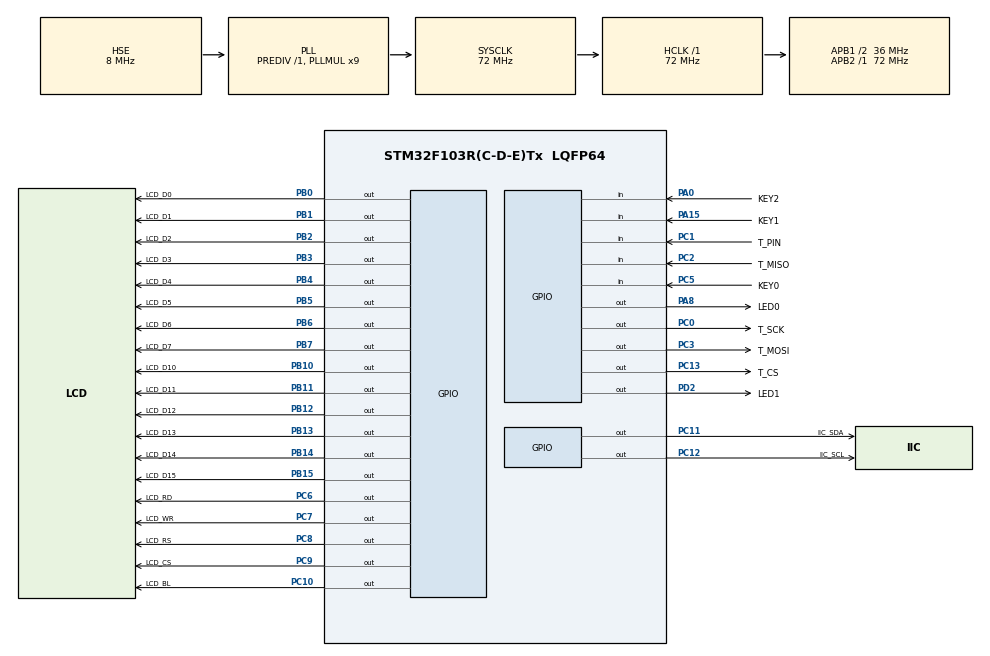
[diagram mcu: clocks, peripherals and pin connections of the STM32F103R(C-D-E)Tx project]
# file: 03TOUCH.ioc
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Mcu.Family=STM32F1
PC10.GPIO_PuPd=GPIO_PULLUP
PD2.GPIO_ModeDefaultOutputPP=GPIO_MODE_OUTPUT_PP
PB10.GPIO_Speed=GPIO_SPEED_FREQ_HIGH
PB10.GPIO_PuPd=GPIO_PULLUP
PA15.GPIO_Mode=GPIO_MODE_INPUT
PC10.Signal=GPIO_Output
PC12.Signal=GPIO_Output
PB14.GPIO_Label=LCD_D14
PB2.GPIO_Speed=GPIO_SPEED_FREQ_HIGH
PC0.GPIO_Label=T_SCK
PC6.GPIO_Label=LCD_RD
PC0.GPIO_ModeDefaultOutputPP=GPIO_MODE_OUTPUT_PP
PD2.GPIO_Speed=GPIO_SPEED_FREQ_HIGH
PB0.GPIO_Label=LCD_D0
PB6.GPIO_Label=LCD_D6
PC10.GPIO_Speed=GPIO_SPEED_FREQ_HIGH
PB11.GPIO_PuPd=GPIO_PULLUP
PB13.GPIO_Label=LCD_D13
PB11.Signal=GPIO_Output
PB13.Signal=GPIO_Output
PB15.Signal=GPIO_Output
PB3.GPIO_Speed=GPIO_SPEED_FREQ_HIGH
PC3.GPIO_Speed=GPIO_SPEED_FREQ_HIGH
RCC.SYSCLKSource=RCC_SYSCLKSOURCE_PLLCLK
ProjectManager.StackSize=0x400
PD1-OSC_OUT.Signal=RCC_OSC_OUT
PB11.GPIO_Speed=GPIO_SPEED_FREQ_HIGH
PA15.GPIO_Label=KEY1
PC11.GPIO_PuPd=GPIO_PULLUP
PB10.GPIO_ModeDefaultOutputPP=GPIO_MODE_OUTPUT_PP
PB1.GPIO_PuPd=GPIO_PULLUP
RCC.HCLKFreq_Value=72000000
RCC.APB2TimFreq_Value=72000000
PB6.Signal=GPIO_Output
PB13.GPIO_ModeDefaultOutputPP=GPIO_MODE_OUTPUT_PP
PC7.Signal=GPIO_Output
PC3.Signal=GPIO_Output
PB15.GPIO_ModeDefaultOutputPP=GPIO_MODE_OUTPUT_PP
RCC.AHBFreq_Value=72000000
PB2.Signal=GPIO_Output
PB12.GPIO_ModeDefaultOutputPP=GPIO_MODE_OUTPUT_PP
PC1.GPIO_PuPd=GPIO_PULLUP
RCC.PLLMUL=RCC_PLL_MUL9
PB12.GPIO_Label=LCD_D12
PB3.GPIO_PuPd=GPIO_PULLUP
PB1.GPIO_Speed=GPIO_SPEED_FREQ_HIGH
PA14.Mode=Serial_Wire
PB1.GPIO_Label=LCD_D1
PC11.GPIO_Label=IIC_SDA
PC11.GPIO_Speed=GPIO_SPEED_FREQ_HIGH
PB7.Signal=GPIO_Output
PA8.Signal=GPIO_Output
PA8.GPIO_ModeDefaultOutputPP=GPIO_MODE_OUTPUT_PP
PC13-TAMPER-RTC.GPIO_Speed=GPIO_SPEED_FREQ_HIGH
PB2.GPIO_PuPd=GPIO_PULLUP
PB7.GPIO_Label=LCD_D7
PC10.GPIO_ModeDefaultOutputPP=GPIO_MODE_OUTPUT_PP
Mcu.Package=LQFP64
PB14.GPIO_PuPd=GPIO_PULLUP
PB1.Signal=GPIO_Output
PB15.GPIO_PuPd=GPIO_PULLUP
PC13-TAMPER-RTC.GPIO_PuPd=GPIO_PULLUP
PB6.GPIO_ModeDefaultOutputPP=GPIO_MODE_OUTPUT_PP
PC8.GPIO_ModeDefaultOutputPP=GPIO_MODE_OUTPUT_PP
PA15.Signal=GPIO_Input
PC6.GPIO_PuPd=GPIO_PULLUP
PC8.GPIO_Speed=GPIO_SPEED_FREQ_HIGH
PB5.GPIO_Speed=GPIO_SPEED_FREQ_HIGH
PB5.GPIO_Label=LCD_D5
RCC.APB1TimFreq_Value=72000000
PB0.GPIO_ModeDefaultOutputPP=GPIO_MODE_OUTPUT_PP
PC5.Signal=GPIO_Input
PC12.GPIO_PuPd=GPIO_PULLUP
PC0.GPIO_PuPd=GPIO_PULLUP
PB2.GPIO_ModeDefaultOutputPP=GPIO_MODE_OUTPUT_PP
PC6.GPIO_Speed=GPIO_SPEED_FREQ_HIGH
PC2.GPIO_Label=T_MISO
PA8.GPIO_Speed=GPIO_SPEED_FREQ_HIGH
PC6.GPIO_ModeDefaultOutputPP=GPIO_MODE_OUTPUT_PP
PA8.PinState=GPIO_PIN_SET
PB4.Signal=GPIO_Output
PB4.GPIO_ModeDefaultOutputPP=GPIO_MODE_OUTPUT_PP
PB7.GPIO_Speed=GPIO_SPEED_FREQ_HIGH
PB3.GPIO_Label=LCD_D3
PB7.GPIO_PuPd=GPIO_PULLUP
RCC.PLLSourceVirtual=RCC_PLLSOURCE_HSE
PB5.GPIO_ModeDefaultOutputPP=GPIO_MODE_OUTPUT_PP
PC7.GPIO_ModeDefaultOutputPP=GPIO_MODE_OUTPUT_PP
PD1-OSC_OUT.Mode=HSE-External-Oscillator
PC10.GPIO_Label=LCD_BL
PC9.GPIO_Label=LCD_CS
PD2.GPIO_PuPd=GPIO_PULLUP
PC11.Signal=GPIO_Output
PB6.GPIO_PuPd=GPIO_PULLUP
PC8.Signal=GPIO_Output
PC2.Signal=GPIO_Input
PC6.Signal=GPIO_Output
PB11.GPIO_Label=LCD_D11
PC13-TAMPER-RTC.Signal=GPIO_Output
PC12.GPIO_ModeDefaultOutputPP=GPIO_MODE_OUTPUT_PP
PD0-OSC_IN.Signal=RCC_OSC_IN
PC0.Signal=GPIO_Output
RCC.APB1CLKDivider=RCC_HCLK_DIV2
PC5.GPIO_PuPd=GPIO_PULLUP
PA0-WKUP.GPIO_Label=KEY2
PA0-WKUP.Signal=GPIO_Input
PB0.GPIO_Speed=GPIO_SPEED_FREQ_HIGH
PC8.GPIO_Label=LCD_RS
PA13.Signal=SYS_JTMS-SWDIO
PC0.GPIO_Speed=GPIO_SPEED_FREQ_HIGH
PA8.GPIO_Label=LED0
ProjectManager.TargetToolchain=STM32CubeIDE
PB14.GPIO_Speed=GPIO_SPEED_FREQ_HIGH
PB10.GPIO_Label=LCD_D10
PB13.GPIO_Speed=GPIO_SPEED_FREQ_HIGH
PB4.GPIO_PuPd=GPIO_PULLUP
RCC.USBFreq_Value=72000000
PC7.GPIO_PuPd=GPIO_PULLUP
PB14.GPIO_ModeDefaultOutputPP=GPIO_MODE_OUTPUT_PP
PB11.GPIO_ModeDefaultOutputPP=GPIO_MODE_OUTPUT_PP
PB12.GPIO_Speed=GPIO_SPEED_FREQ_HIGH
PD0-OSC_IN.Mode=HSE-External-Oscillator
PB10.Signal=GPIO_Output
PB14.Signal=GPIO_Output
PD2.PinState=GPIO_PIN_SET
board=custom
PC7.GPIO_Speed=GPIO_SPEED_FREQ_HIGH
PC13-TAMPER-RTC.GPIO_Label=T_CS
PB13.GPIO_PuPd=GPIO_PULLUP
PB4.GPIO_Speed=GPIO_SPEED_FREQ_HIGH
RCC.APB2Freq_Value=72000000
PB4.GPIO_Label=LCD_D4
PB15.GPIO_Label=LCD_D15
PB7.GPIO_ModeDefaultOutputPP=GPIO_MODE_OUTPUT_PP
PB15.GPIO_Speed=GPIO_SPEED_FREQ_HIGH
PC9.GPIO_ModeDefaultOutputPP=GPIO_MODE_OUTPUT_PP
PC1.GPIO_Label=T_PIN
PC9.GPIO_PuPd=GPIO_PULLUP
PC2.GPIO_PuPd=GPIO_PULLUP
PC11.GPIO_ModeDefaultOutputPP=GPIO_MODE_OUTPUT_PP
PA13.Mode=Serial_Wire
Mcu.Name=STM32F103R(C-D-E)Tx
PC7.GPIO_Label=LCD_WR
PC8.GPIO_PuPd=GPIO_PULLUP
PB3.Signal=GPIO_Output
RCC.SYSCLKFreq_VALUE=72000000
PC13-TAMPER-RTC.GPIO_ModeDefaultOutputPP=GPIO_MODE_OUTPUT_PP
PB5.Signal=GPIO_Output
PC5.GPIO_Label=KEY0
PB5.GPIO_PuPd=GPIO_PULLUP
PC12.GPIO_Label=IIC_SCL
PC5.GPIO_Mode=GPIO_MODE_INPUT
PA14.Signal=SYS_JTCK-SWCLK
PB2.GPIO_Label=LCD_D2
ProjectManager.HeapSize=0x200
PA8.GPIO_PuPd=GPIO_PULLUP
PC9.GPIO_Speed=GPIO_SPEED_FREQ_HIGH
NVIC.PriorityGroup=NVIC_PRIORITYGROUP_4
PA15.GPIO_PuPd=GPIO_PULLUP
PC3.GPIO_Label=T_MOSI
PA0-WKUP.GPIO_PuPd=GPIO_PULLDOWN
PC9.Signal=GPIO_Output
PC3.GPIO_ModeDefaultOutputPP=GPIO_MODE_OUTPUT_PP
PB1.GPIO_ModeDefaultOutputPP=GPIO_MODE_OUTPUT_PP
PD2.Signal=GPIO_Output
PB6.GPIO_Speed=GPIO_SPEED_FREQ_HIGH
PB12.GPIO_PuPd=GPIO_PULLUP
RCC.APB1Freq_Value=36000000
PC12.GPIO_Speed=GPIO_SPEED_FREQ_HIGH
PB0.Signal=GPIO_Output
PC1.Signal=GPIO_Input
PB12.Signal=GPIO_Output
PD2.GPIO_Label=LED1
PB0.GPIO_PuPd=GPIO_PULLUP
PC3.GPIO_PuPd=GPIO_PULLUP
PB3.GPIO_ModeDefaultOutputPP=GPIO_MODE_OUTPUT_PP

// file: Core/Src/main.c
/* USER CODE BEGIN Header */
/**
  ******************************************************************************
  * @file           : main.c
  * @brief          : Main program body
  ******************************************************************************
  * @attention
  *
  * <h2><center>&copy; Copyright (c) 2021 STMicroelectronics.
  * All rights reserved.</center></h2>
  *
  * This software component is licensed by ST under BSD 3-Clause license,
  * the "License"; You may not use this file except in compliance with the
  * License. You may obtain a copy of the License at:
  *                        opensource.org/licenses/BSD-3-Clause
  *
  ******************************************************************************
  */
/* USER CODE END Header */
#include "main.h"
#include "gpio.h"

/* USER CODE BEGIN Includes */
#include "base.h"
#include "lcd.h"
#include "touch.h"
/* USER CODE END Includes */

void SystemClock_Config(void);
/* USER CODE BEGIN PFP */
//清空屏幕并在右上角显??"RST"
void Load_Drow_Dialog(void)
{
	LCD_Clear(WHITE);//清屏
 	POINT_COLOR=BLUE;//设置字体为蓝??
	LCD_ShowString(lcddev.width-24,0,200,16,16,(u8 *)"RST");//显示清屏区域
  POINT_COLOR=RED;//设置画笔蓝色
}
////////////////////////////////////////////////////////////////////////////////
//电容触摸屏专有部??
//画水平线
//x0,y0:坐标
//len:线长??
//color:颜色
void gui_draw_hline(u16 x0,u16 y0,u16 len,u16 color)
{
	if(len==0)return;
	LCD_Fill(x0,y0,x0+len-1,y0,color);
}
//画实心圆
//x0,y0:坐标
//r:半径
//color:颜色
void gui_fill_circle(u16 x0,u16 y0,u16 r,u16 color)
{
	u32 i;
	u32 imax = ((u32)r*707)/1000+1;
	u32 sqmax = (u32)r*(u32)r+(u32)r/2;
	u32 x=r;
	gui_draw_hline(x0-r,y0,2*r,color);
	for (i=1;i<=imax;i++)
	{
		if ((i*i+x*x)>sqmax)// draw lines from outside
		{
 			if (x>imax)
			{
				gui_draw_hline (x0-i+1,y0+x,2*(i-1),color);
				gui_draw_hline (x0-i+1,y0-x,2*(i-1),color);
			}
			x--;
		}
		// draw lines from inside (center)
		gui_draw_hline(x0-x,y0+i,2*x,color);
		gui_draw_hline(x0-x,y0-i,2*x,color);
	}
}
//两个数之差的绝对??
//x1,x2：需取差值的两个??
//返回值：|x1-x2|
u16 my_abs(u16 x1,u16 x2)
{
	if(x1>x2)return x1-x2;
	else return x2-x1;
}
//画一条粗??
//(x1,y1),(x2,y2):线条的起始坐??
//size：线条的粗细程度
//color：线条的颜色
void lcd_draw_bline(u16 x1, u16 y1, u16 x2, u16 y2,u8 size,u16 color)
{
	u16 t;
	int xerr=0,yerr=0,delta_x,delta_y,distance;
	int incx,incy,uRow,uCol;
	if(x1<size|| x2<size||y1<size|| y2<size)return;
	delta_x=x2-x1; //计算坐标增量
	delta_y=y2-y1;
	uRow=x1;
	uCol=y1;
	if(delta_x>0)incx=1; //设置单步方向
	else if(delta_x==0)incx=0;//垂直??
	else {incx=-1;delta_x=-delta_x;}
	if(delta_y>0)incy=1;
	else if(delta_y==0)incy=0;//水平??
	else{incy=-1;delta_y=-delta_y;}
	if( delta_x>delta_y)distance=delta_x; //选取基本增量坐标??
	else distance=delta_y;
	for(t=0;t<=distance+1;t++ )//画线输出
	{
		gui_fill_circle(uRow,uCol,size,color);//画点
		xerr+=delta_x ;
		yerr+=delta_y ;
		if(xerr>distance)
		{
			xerr-=distance;
			uRow+=incx;
		}
		if(yerr>distance)
		{
			yerr-=distance;
			uCol+=incy;
		}
	}
}
////////////////////////////////////////////////////////////////////////////////
//5个触控点的颜??(电容触摸屏用)
const u16 POINT_COLOR_TBL[5]={RED,GREEN,BLUE,BROWN,GRED};
//电阻触摸屏测试函??
void rtp_test(void)
{
	u8 key;
	u8 i=0;
	while(1)
	{
	 	key=KEY_Scan(0);
		tp_dev.scan(0);
		if(tp_dev.sta&TP_PRES_DOWN)			//触摸屏被按下
		{
		 	if(tp_dev.x[0]<lcddev.width&&tp_dev.y[0]<lcddev.height)
			{
				if(tp_dev.x[0]>(lcddev.width-24)&&tp_dev.y[0]<16)Load_Drow_Dialog();//清除
				else TP_Draw_Big_Point(tp_dev.x[0],tp_dev.y[0],RED);		//画图
			}
		}else delay_ms(10);	//没有按键按下的时??
		if(key==KEY0_PRES)	//KEY0按下,则执行校准程??
		{
			LCD_Clear(WHITE);	//清屏
		    TP_Adjust();  		//屏幕校准
			TP_Save_Adjdata();
			Load_Drow_Dialog();
		}
		i++;
		if(i%20==0)LED0_T;
	}
}
//电容触摸屏测试函??
void ctp_test(void)
{
	u8 t=0;
	u8 i=0;
 	u16 lastpos[5][2];		//??后一次的数据
	while(1)
	{
		tp_dev.scan(0);
		for(t=0;t<5;t++)
		{
			if((tp_dev.sta)&(1<<t))
			{
                //printf("X坐标:%d,Y坐标:%d\r\n",tp_dev.x[0],tp_dev.y[0]);
				if(tp_dev.x[t]<lcddev.width&&tp_dev.y[t]<lcddev.height)
				{
					if(lastpos[t][0]==0XFFFF)
					{
						lastpos[t][0] = tp_dev.x[t];
						lastpos[t][1] = tp_dev.y[t];
					}

					lcd_draw_bline(lastpos[t][0],lastpos[t][1],tp_dev.x[t],tp_dev.y[t],2,POINT_COLOR_TBL[t]);//画线
					lastpos[t][0]=tp_dev.x[t];
					lastpos[t][1]=tp_dev.y[t];
					if(tp_dev.x[t]>(lcddev.width-24)&&tp_dev.y[t]<20)
					{
						Load_Drow_Dialog();//清除
					}
				}
			}else lastpos[t][0]=0XFFFF;
		}

		delay_ms(5);i++;
		if(i%20==0)LED0_T;
	}
}
/* USER CODE END PFP */

int main(void)
{
  /* USER CODE BEGIN 1 */
  u8 x=0;
  u8 lcd_id[12];						//存放LCD ID字符??
  /* USER CODE END 1 */

  /* MCU Configuration--------------------------------------------------------*/

  /* Reset of all peripherals, Initializes the Flash interface and the Systick. */
  HAL_Init();

  /* Configure the system clock */
  SystemClock_Config();

  /* Initialize all configured peripherals */
  MX_GPIO_Init();
  /* USER CODE BEGIN 2 */
  delay_init(72);
  LCD_Init();
	tp_dev.init();				   		//触摸屏初始化

	POINT_COLOR=RED;
	LCD_ShowString(30,50,200,16,16,(u8 *)"Mini STM32");
	LCD_ShowString(30,70,200,16,16,(u8 *)"TOUCH TEST");
	LCD_ShowString(30,90,200,16,16,(u8 *)"ATOM@ALIENTEK");
	LCD_ShowString(30,110,200,16,16,(u8 *)"2019/11/15");
  if(tp_dev.touchtype!=0XFF)
	{
		LCD_ShowString(30,130,200,16,16,(u8 *)"Press KEY0 to Adjust");//电阻屏才显示
	}
	delay_ms(1500);
 	Load_Drow_Dialog();

	if(tp_dev.touchtype&0X80)ctp_test();//电容屏测??
	else rtp_test(); 					//电阻屏测??
  /* USER CODE END 2 */

  /* Infinite loop */
  while (1)
  {

    /* USER CODE BEGIN 3 */

	switch(x)
	{
		case 0:LCD_Clear(WHITE);break;
		case 1:LCD_Clear(BLACK);break;
		case 2:LCD_Clear(BLUE);break;
		case 3:LCD_Clear(RED);break;
		case 4:LCD_Clear(MAGENTA);break;
		case 5:LCD_Clear(GREEN);break;
		case 6:LCD_Clear(CYAN);break;
		case 7:LCD_Clear(YELLOW);break;
		case 8:LCD_Clear(BRRED);break;
		case 9:LCD_Clear(GRAY);break;
		case 10:LCD_Clear(LGRAY);break;
		case 11:LCD_Clear(BROWN);break;
	}
	POINT_COLOR=RED;
	LCD_ShowString(30,40,200,24,24, (u8 *)"Mini STM32 ^_^");
	LCD_ShowString(30,70,200,16,16, (u8 *)"TFTLCD TEST");
	LCD_ShowString(30,90,200,16,16, (u8 *)"ATOM@ALIENTEK");
	LCD_ShowString(30,110,200,16,16,(u8 *)lcd_id);
	LCD_ShowString(30,130,200,12,12,(u8 *)"2019/11/15");
    x++;
	if(x==12)x=0;
	PAout(8) = !PAout(8);
	delay_ms(1000);
  }
  /* USER CODE END 3 */
}

void SystemClock_Config(void)
{
  RCC_OscInitTypeDef RCC_OscInitStruct = {0};
  RCC_ClkInitTypeDef RCC_ClkInitStruct = {0};

  /** Initializes the RCC Oscillators according to the specified parameters
  * in the RCC_OscInitTypeDef structure.
  */
  RCC_OscInitStruct.OscillatorType = RCC_OSCILLATORTYPE_HSE;
  RCC_OscInitStruct.HSEState = RCC_HSE_ON;
  RCC_OscInitStruct.HSEPredivValue = RCC_HSE_PREDIV_DIV1;
  RCC_OscInitStruct.HSIState = RCC_HSI_ON;
  RCC_OscInitStruct.PLL.PLLState = RCC_PLL_ON;
  RCC_OscInitStruct.PLL.PLLSource = RCC_PLLSOURCE_HSE;
  RCC_OscInitStruct.PLL.PLLMUL = RCC_PLL_MUL9;
  if (HAL_RCC_OscConfig(&RCC_OscInitStruct) != HAL_OK)
  {
    Error_Handler();
  }
  /** Initializes the CPU, AHB and APB buses clocks
  */
  RCC_ClkInitStruct.ClockType = RCC_CLOCKTYPE_HCLK|RCC_CLOCKTYPE_SYSCLK
                              |RCC_CLOCKTYPE_PCLK1|RCC_CLOCKTYPE_PCLK2;
  RCC_ClkInitStruct.SYSCLKSource = RCC_SYSCLKSOURCE_PLLCLK;
  RCC_ClkInitStruct.AHBCLKDivider = RCC_SYSCLK_DIV1;
  RCC_ClkInitStruct.APB1CLKDivider = RCC_HCLK_DIV2;
  RCC_ClkInitStruct.APB2CLKDivider = RCC_HCLK_DIV1;

  if (HAL_RCC_ClockConfig(&RCC_ClkInitStruct, FLASH_LATENCY_2) != HAL_OK)
  {
    Error_Handler();
  }
}

void Error_Handler(void)
{
  __disable_irq();
  while (1)
  {
  }
}

/************************ (C) COPYRIGHT STMicroelectronics *****END OF FILE****/
